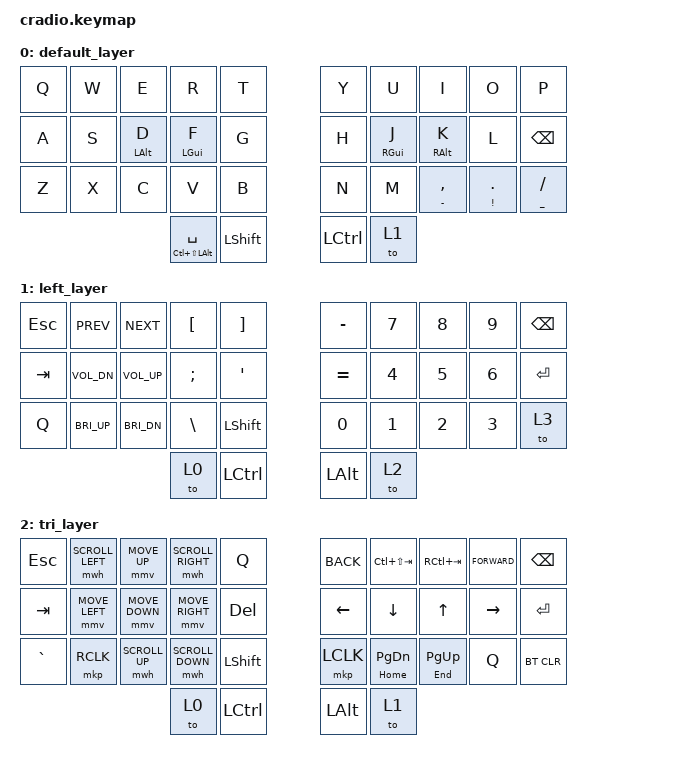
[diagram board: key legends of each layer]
/*
 * Copyright (c) 2020 The ZMK Contributors
 *
 * SPDX-License-Identifier: MIT
 */

#include <behaviors.dtsi>
#include <dt-bindings/zmk/keys.h>
#include <dt-bindings/zmk/bt.h>
#include <dt-bindings/zmk/mouse.h>


&mt {
    flavor = "tap-preferred";
    tapping_term_ms = <200>;
};


/ { 
    combos {
        compatible = "zmk,combos";
        combo_esc { 
            timeout-ms = <50>;
            key-positions = <21 22>;
            bindings = <&kp ESC>;
        };
        combo_3 {
            timeout-ms = <50>;
            key-positions = <7 8>;
            bindings = <&to 3>;
        };
        combo_ent {
            timeout-ms = <50>;
	    key-positions = <27 28>;
            bindings = <&kp RET>;
        };
        combo_1 {
            timeout-ms = <50>;
	    key-positions = <30 33>;
            bindings = <&to 1>;
        };
        combo_1_high {
            timeout-ms = <50>;
	    key-positions = <24 25>;
            bindings = <&to 1>;
        };
        combo_g {
            timeout-ms = <15>;
	    key-positions = <12 13>;
            bindings = <&kp G>;
            layers = <0>;
        };
        combo_j {
            timeout-ms = <50>;
	    key-positions = <22 23>;
            bindings = <&kp J>;
            layers = <0>;
        };
        combo_p {
            timeout-ms = <15>;
	    key-positions = <16 17>;
            bindings = <&kp P>;
            layers = <0>;
        };
        combo_b {
            timeout-ms = <50>;
	    key-positions = <26 27>;
            bindings = <&kp B>;
            layers = <0>;
        };
        combo_scol {
            timeout-ms = <50>;
	    key-positions = <8 9>;
            bindings = <&kp SEMI>;
            layers = <0>;
        };
        combo_com {
            timeout-ms = <50>;
	    key-positions = <20 21>;
            bindings = <&kp COMMA>;
            layers = <0>;
        };
        combo_minus {
            timeout-ms = <50>;
	    key-positions = <0 1>;
            bindings = <&kp MINUS>;
            layers = <0>;
        };
        combo_slsh {
            timeout-ms = <50>;
	    key-positions = <28 29>;
            bindings = <&kp SLASH>;
            layers = <0>;
        };
        combo_sqt {
            timeout-ms = <50>;
	    key-positions = <12 13>;
            bindings = <&kp SQT>;
            layers = <1>;
        };
        combo_dqt {
            timeout-ms = <50>;
	    key-positions = <22 23>;
            bindings = <&kp DQT>;
            layers = <1>;
        };
        combo_bslh {
            timeout-ms = <50>;
	    key-positions = <16 17>;
            bindings = <&kp BSLH>;
            layers = <1>;
        };
        combo_lbkt {
            timeout-ms = <50>;
	    key-positions = <26 27>;
            bindings = <&kp LBKT>;
            layers = <1>;
        };
        combo_n0 {
            timeout-ms = <50>;
	    key-positions = <26 27>;
            bindings = <&kp N0>;
            layers = <2>;
        };
        combo_lalt {
            timeout-ms = <50>;
	    key-positions = <12 13>;
            bindings = <&kp LALT>;
            layers = <3>;
        };
        combo_del {
            timeout-ms = <50>;
	    key-positions = <22 23>;
            bindings = <&kp DEL>;
            layers = <3>;
        };
        combo_left {
            timeout-ms = <50>;
	    key-positions = <16 17>;
            bindings = <&kp LEFT>;
            layers = <3>;
        };
        combo_lclk {
            timeout-ms = <50>;
	    key-positions = <26 27>;
            bindings = <&mkp LCLK>;
            layers = <3>;
        };
    };

    behaviors {
        hm: homerow_mods {
            compatible = "zmk,behavior-hold-tap";
            label = "HOMEROW_MODS";
            #binding-cells = <2>;
            tapping-term-ms = <200>;
            quick_tap_ms = <0>;
            flavor = "tap-preferred";
            bindings = <&kp>, <&kp>;
        };
        hs: homerow_shifts {
            compatible = "zmk,behavior-hold-tap";
            label = "HOMEROW_SHIFTS";
            #binding-cells = <2>;
            tapping-term-ms = <150>;
            quick_tap_ms = <0>;
            flavor = "balanced";
            bindings = <&kp>, <&kp>;
        };
        hsl: homerow_shifts_layer {
            compatible = "zmk,behavior-hold-tap";
            label = "HOMEROW_SHIFTS_LAYER";
            #binding-cells = <2>;
            tapping-term-ms = <150>;
            quick_tap_ms = <0>;
            flavor = "balanced";
            bindings = <&kp>, <&to>;
        };
	td: tapdance {
            compatible = "zmk,behavior-hold-tap";
            label = "TAPDANCE";
            #binding-cells = <2>;
            tapping-term-ms = <150>;
            quick_tap_ms = <0>;
            flavor = "tap-preferred";
            bindings = <&kp>, <&kp>;
        };
	bl: layertap {
            compatible = "zmk,behavior-hold-tap";
            label = "LAYERTAP";
            #binding-cells = <2>;
            tapping-term-ms = <150>;
            quick_tap_ms = <0>;
            flavor = "tap-preferred";
            bindings = <&to>, <&kp>;
        };
    };

        keymap {
                compatible = "zmk,keymap";
                
       		default_layer {
		bindings = <
		&kp Q &kp W &kp E &kp R &kp T 						&kp Y &kp U  &kp I    &kp O  &kp P
		&kp A &kp S &hm LALT D &hm LGUI F &kp G 			       	&kp H  &hm RGUI J &hm RALT K &kp L &kp BKSP
		&kp Z &kp X &kp C &kp V &kp B 						&kp N &kp M  &td MINUS COMMA &td EXCL DOT &td UNDERSCORE SLASH
          				&mt LC(LS(LALT)) SPC &kp LSHIFT 		&kp LCTRL &to 1
		>;
		};

       		left_layer {
		bindings = <
		&kp ESC  &kp C_PREV   &kp C_NEXT  &kp LBKT    &kp RBKT		&kp MINUS &kp N7 &kp N8 &kp N9 &kp BKSP
		&kp TAB  &kp C_VOL_DN  &kp C_VOL_UP  &kp SEMI   &kp SQT 	&kp EQUAL &kp N4 &kp N5 &kp N6 &kp ENTER
  		&kp Q    &kp C_BRI_UP  &kp C_BRI_DN  &kp BSLH  &kp LSHIFT  	&kp N0    &kp N1 &kp N2 &kp N3  &to 3
					    &to 0 &kp LCTRL  			&kp LALT &to 2 
		>;
		};

		tri_layer {
		bindings = <
		&kp ESC  &mwh SCROLL_LEFT &mmv MOVE_UP &mwh SCROLL_RIGHT &kp Q 		&kp K_BACK  &kp LC(LS(TAB))   &kp RC(TAB) &kp K_FORWARD &kp BKSP
		&kp TAB &mmv MOVE_LEFT &mmv MOVE_DOWN &mmv MOVE_RIGHT &kp DEL  		&kp LEFT &kp DOWN  &kp UP &kp RIGHT &kp ENTER
		&kp GRAVE &mkp RCLK  &mwh SCROLL_UP &mwh SCROLL_DOWN &kp LSHIFT   	&mkp LCLK &td HOME PG_DN  &td END PG_UP  &kp Q &bt BT_CLR  
					 &to 0 &kp LCTRL 					&kp LALT &to 1 

		>;
		};
        
	};
};
